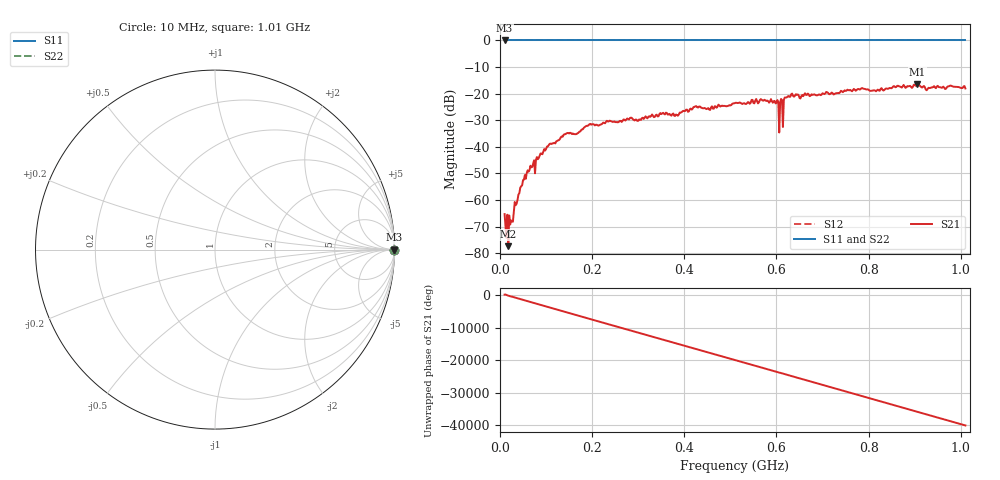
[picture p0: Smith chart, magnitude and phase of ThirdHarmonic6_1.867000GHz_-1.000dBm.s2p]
! 8/16/2025 10:34:26 PM
! C:\ANRITSUVNA\TEMP\TEMP.S2P
! CHANNEL.1
! TR.MEASUREMENT
! RAW.DATA
! RF.CORRECTION.OFF
! AVERAGING.OFF
! IF.BANDWIDTH: 5KHZ
! SWEEPTYPE:  FREQ.SWEEP(Linear)
! Reference Plane Port Info
! PORT:  PORT1  PORT2
! DISTANCE:  0  m  0  m
! TIME:  0  s  0  s
! PHASE.OFFSET:  0  deg.  0  deg.
! LOSS:  0  dB  0  dB
! REF.LOSS:  0  dB  0  dB
! REF.FREQ:  0  Hz  0  Hz
! Power Info
! POWER:  -20  dBm  -20  dBm
! EFF.POWER:  -20  dBm  -20  dBm
! SOURCE.ATTEN:  0  dB  0  dB
! TEST.ATTEN:  0  dB  0  dB
# GHZ S RI R 50.0
! FREQ.GHZ  S11RE  S11IM  S21RE  S21IM  S12RE  S12IM  S22RE  S22IM
!; PortSelection: Port_12
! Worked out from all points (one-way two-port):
!   501 points, 10 MHz to 1.01 GHz, reference 50 ohm
!   highest |S21| = -16.54 dB at 906 MHz (marker M1); lowest = -77.3 dB at 18 MHz (marker M2)
!   lowest |S11| = 0.0 dB at 10 MHz (marker M3)
!   |S11| at or under -10 dB: nowhere
!   |S22| runs from 0.0 to 0.0 dB; largest |S21 - S12| = 1.1
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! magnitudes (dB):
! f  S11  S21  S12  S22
! 10 MHz  0.0  -65.3  0.0  0.0
! 18 MHz  0.0  -77.3  0.0  0.0
! 26 MHz  0.0  -68.1  0.0  0.0
! 50 MHz  0.0  -52.5  0.0  0.0
! 70 MHz  0.0  -47.5  0.0  0.0
! 106 MHz  0.0  -39.3  0.0  0.0
! 178 MHz  0.0  -33.4  0.0  0.0
! 198 MHz  0.0  -31.7  0.0  0.0
! 344 MHz  0.0  -28.5  0.0  0.0
! 510 MHz  0.0  -23.5  0.0  0.0
! 592 MHz  0.0  -23.4  0.0  0.0
! 600 MHz  0.0  -23.5  0.0  0.0
! 602 MHz  0.0  -22.4  0.0  0.0
! 608 MHz  0.0  -23.3  0.0  0.0
! 610 MHz  0.0  -22.0  0.0  0.0
! 612 MHz  0.0  -22.4  0.0  0.0
! 618 MHz  0.0  -21.4  0.0  0.0
! 622 MHz  0.0  -21.4  0.0  0.0
! 678 MHz  0.0  -20.5  0.0  0.0
! 844 MHz  0.0  -18.0  0.0  0.0
! 906 MHz  0.0  -16.5  0.0  0.0
! 1.01 GHz  0.0  -18.0  0.0  0.0
